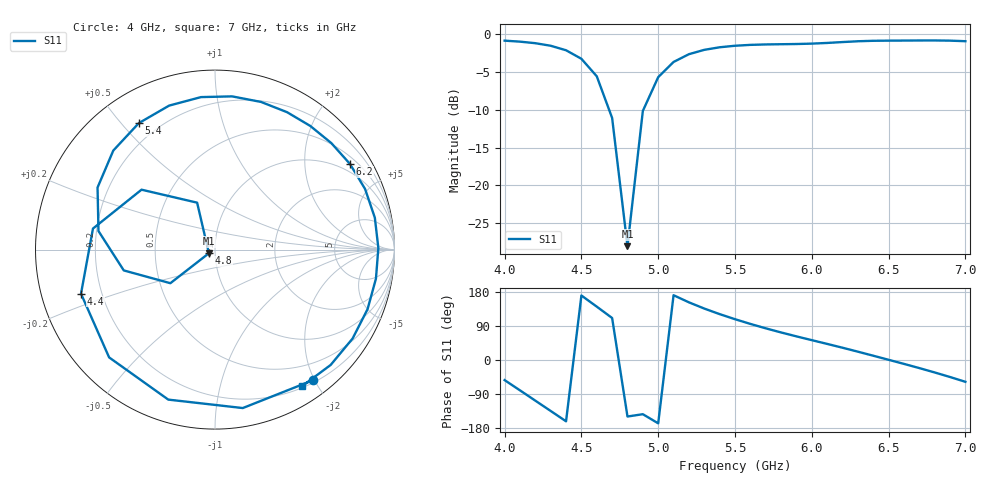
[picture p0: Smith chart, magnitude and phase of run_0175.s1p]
! Touchstone file exported from HFSS 2024.2.0
!  File:  C:/Users/wsak9/Desktop/Sim Fast/Widenad Patch/WP_AI_V1_sweep.aedt
!  Generated:  10:14:11 PM Oct 13, 2026
!  Design:  A1_model
!  Project:  WP_AI_V1_sweep
!  Setup:  Setup1
!  Solution:  Sweep
! Variables:
!  Air_gap = 2.23mm
!  Curve_Amp1 = 1.37
!  Curve_len1 = 1
!  Curve_pos = 11.86mm
!  Extra = 3.23mm
!  H_sub = 0.79mm
!  L_Patch = 19.72mm
!  L_Patch1 = 16.11mm
!  Sx = 4.17mm
!  Sy = 2.72mm
!  WS = 0.65mm
!  W_Patch = 18.53mm
!  W_Patch1 = 12.88mm
!Data is not renormalized
# GHz S MA
! Terminal data exported
! Port[1] = 1
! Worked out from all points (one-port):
!   31 points, 4 GHz to 7 GHz, reference per port
!   lowest |S11| = -28.1 dB at 4.8 GHz (marker M1), VSWR 1.08
!   |S11| at or under -10 dB: 4.681 GHz to 4.903 GHz (222.3 MHz wide, 4.64 % of centre)
!   S11 on the Smith chart (normalised r, x): 4 GHz: 0.23, -1.98; 4.4 GHz: 0.12, -0.16; 4.8 GHz: 0.93, -0.04; 5.4 GHz: 0.13, +0.56; 6.2 GHz: 0.71, +3.30; 7 GHz: 0.22, -1.80
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4  0.9101 -53.0
4.1  0.8963 -80.1
4.2  0.8754 -107.3
4.3  0.8419 -134.5
4.4  0.7859 -161.8
4.5  0.6899 170.2
4.6  0.5282 140.8
4.7  0.2799 110.9
4.8  0.03951 -149.2
4.9  0.3113 -143.0
5  0.5213 -167.1
5.1  0.6574 171.0
5.2  0.7402 152.1
5.3  0.791 135.7
5.4  0.8226 121.1
5.5  0.842 107.7
5.6  0.8532 95.2
5.7  0.859 83.6
5.9  0.8645 62.3
6.1  0.8787 42.5
6.2  0.8906 32.4
6.3  0.9018 22.0
6.4  0.9081 11.3
6.5  0.9101 0.6
6.7  0.9125 -21.3
6.8  0.9128 -32.8
6.9  0.9101 -44.9
7  0.9025 -57.5
